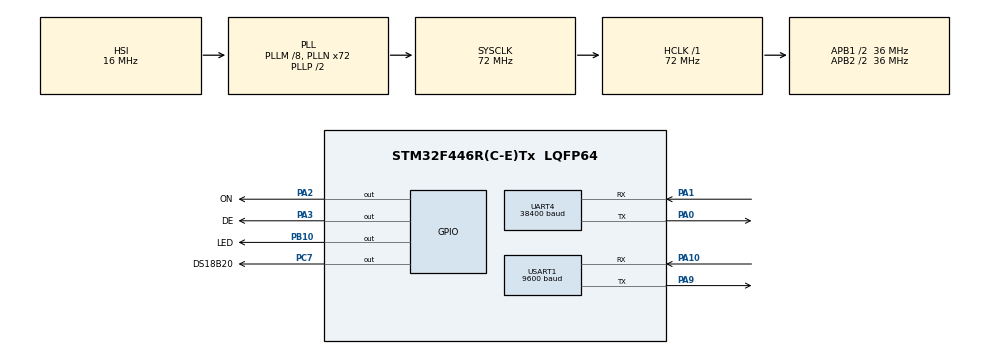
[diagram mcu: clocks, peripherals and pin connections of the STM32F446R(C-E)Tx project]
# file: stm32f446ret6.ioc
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Dma.Request0=UART4_TX
Dma.UART4_TX.0.Direction=DMA_MEMORY_TO_PERIPH
Dma.UART4_TX.0.FIFOMode=DMA_FIFOMODE_DISABLE
Dma.UART4_TX.0.Instance=DMA1_Stream4
Dma.UART4_TX.0.MemDataAlignment=DMA_MDATAALIGN_BYTE
Dma.UART4_TX.0.MemInc=DMA_MINC_ENABLE
Dma.UART4_TX.0.Mode=DMA_NORMAL
Dma.UART4_TX.0.PeriphDataAlignment=DMA_PDATAALIGN_BYTE
Dma.UART4_TX.0.PeriphInc=DMA_PINC_DISABLE
Dma.UART4_TX.0.Priority=DMA_PRIORITY_LOW
Mcu.Family=STM32F4
Mcu.Name=STM32F446R(C-E)Tx
Mcu.Package=LQFP64
NVIC.DMA1_Stream4_IRQn=true\:0\:0\:false\:false\:true\:false\:true\:true
NVIC.PriorityGroup=NVIC_PRIORITYGROUP_4
PA0-WKUP.Mode=Asynchronous
PA0-WKUP.Signal=UART4_TX
PA1.Mode=Asynchronous
PA1.Signal=UART4_RX
PA10.Mode=Asynchronous
PA10.Signal=USART1_RX
PA13.Mode=Serial_Wire
PA13.Signal=SYS_JTMS-SWDIO
PA14.Mode=Serial_Wire
PA14.Signal=SYS_JTCK-SWCLK
PA2.GPIO_Label=ON
PA2.Signal=GPIO_Output
PA3.GPIO_Label=DE
PA3.Signal=GPIO_Output
PA9.Mode=Asynchronous
PA9.Signal=USART1_TX
PB10.GPIO_Label=LED
PB10.Signal=GPIO_Output
PC7.GPIO_Label=DS18B20
PC7.Signal=GPIO_Output
ProjectManager.HeapSize=0x200
ProjectManager.StackSize=0x400
ProjectManager.TargetToolchain=STM32CubeIDE
RCC.AHBFreq_Value=72000000
RCC.APB1CLKDivider=RCC_HCLK_DIV2
RCC.APB1Freq_Value=36000000
RCC.APB1TimFreq_Value=72000000
RCC.APB2CLKDivider=RCC_HCLK_DIV2
RCC.APB2Freq_Value=36000000
RCC.APB2TimFreq_Value=72000000
RCC.CortexFreq_Value=72000000
RCC.HCLKFreq_Value=72000000
RCC.PLLM=8
RCC.PLLN=72
RCC.SYSCLKFreq_VALUE=72000000
RCC.SYSCLKSource=RCC_SYSCLKSOURCE_PLLCLK
RCC.USBFreq_Value=72000000
RCC.VCOOutputFreq_Value=144000000
TIM6.Prescaler=71
UART4.BaudRate=38400
UART4.VirtualMode=Asynchronous
USART1.BaudRate=9600
USART1.VirtualMode=VM_ASYNC
VP_TIM6_VS_ClockSourceINT.Mode=Enable_Timer
board=custom

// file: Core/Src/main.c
/* USER CODE BEGIN Header */
/**
  ******************************************************************************
  * @file           : main.c
  * @brief          : Main program body
  ******************************************************************************
  * @attention
  *
  * Copyright (c) 2022 STMicroelectronics.
  * All rights reserved.
  *
  * This software is licensed under terms that can be found in the LICENSE file
  * in the root directory of this software component.
  * If no LICENSE file comes with this software, it is provided AS-IS.
  *
  ******************************************************************************
  */
/* USER CODE END Header */
#include "main.h"

/* USER CODE BEGIN PD */
#define USART_BUS	UART4	// USART pro ProfiBUS
#define LL_DMA_CHANNEL_TX_BUS	LL_DMA_STREAM_4	// Vysilaci kanal DMA pro ProfiBUS

#define DE_BUS_Pin 				DE_Pin			// Pin pro DriverEnable
#define DE_BUS_GPIO_Port 		DE_GPIO_Port	// GPIO port pro DriverEnable
#define DE_BUS_Polarity			GPIO_PIN_SET		// GPIO_PIN_SET = pozitivni logika | GPIO_PIN_RESET = negace

#define RS485_RYCHLOST			38400
#define	DE_TX_START_DELAY		3000				// zpozdeni mezi povolenim budice a spustenim vysilani [us]
#define	DE_TX_END_DELAY			2200				// zpozdeni mezi povolenim budice a spustenim vysilani [us]
/* USER CODE END PD */

 TIM_HandleTypeDef htim6;

UART_HandleTypeDef huart1;

/* USER CODE BEGIN PV */
uint8_t Presence = 0;
uint8_t Temp_byte1;
uint8_t Temp_byte2;
uint16_t TEMP;
uint16_t val;
uint8_t buff[4];
/* USER CODE END PV */

void SystemClock_Config(void);
static void MX_GPIO_Init(void);
static void MX_DMA_Init(void);
static void MX_UART4_Init(void);
static void MX_TIM6_Init(void);
static void MX_USART1_UART_Init(void);
/* USER CODE BEGIN PFP */
void profibus_send_string(uint8_t adresa, uint8_t FC, uint8_t* str, uint8_t len);
void PB_DE_Set(void);
void PB_DE_Reset(void);
volatile uint8_t usart_tx_dma_transfer=0;
void delay(uint16_t time);
uint32_t timeDiff(uint32_t stampA, uint32_t stampB);
uint8_t usart_start_tx_dma_transfer(void);
void DS18B20_Write (uint8_t data);
void delay2 (uint32_t us);
uint8_t DS18B20_Start (void);
uint8_t read (void);
void gpio_set_input(void);
void gpio_set_output(void);
/* USER CODE END PFP */

int main(void)
{
  /* USER CODE BEGIN 1 */

	uint8_t strbuff1[16];
	uint8_t strbuff2[14];
  /* USER CODE END 1 */

  /* MCU Configuration--------------------------------------------------------*/

  /* Reset of all peripherals, Initializes the Flash interface and the Systick. */
  HAL_Init();

  /* Configure the system clock */
  SystemClock_Config();

  /* Initialize all configured peripherals */
  MX_GPIO_Init();
  MX_DMA_Init();
  MX_UART4_Init();
  MX_TIM6_Init();
  MX_USART1_UART_Init();
  /* USER CODE BEGIN 2 */
  LL_DMA_ClearFlag_HT4(DMA1);
  LL_DMA_ClearFlag_TC4(DMA1);
  LL_DMA_ClearFlag_TE4(DMA1);

  //LL_DMA_EnableStream(DMA1, LL_DMA_STREAM_4);

  HAL_GPIO_WritePin(GPIOA, GPIO_PIN_2, GPIO_PIN_RESET);
  HAL_TIM_Base_Start(&htim6);
  //HAL_GPIO_WritePin(GPIOA, GPIO_PIN_3, GPIO_PIN_SET);
  /* USER CODE END 2 */

  /* Infinite loop */
  /* USER CODE BEGIN WHILE */
  while (1)
  {
	  HAL_UART_Receive(&huart1, buff, 4, 100u);
	  	  for (int i = 0; i<4;i++)
	  	  {
	  		  if (buff[i] == 0xff)
	  		  {
	  			  switch(i){
	  			  case 0:
	  				  if(buff[i+1] == 0xff){
	  					  break;
	  				  }
	  				  val = ((uint16_t)buff[i+1] << 8) | buff[i+2];
	  				  break;
	  			  case 1:
	  				  if(buff[i+1] == 0xff){
	  					  break;
	  				  }
	  				  else if(buff[i-1] == 0xff){
	  					  break;
	  				  }
	  				  val = ((uint16_t)buff[i+1] << 8) | buff[i+2];
	  				  break;
	  			  case 2:
	  				  if(buff[i+1] == 0xff){
	  					  break;
	  				  }
	  				  else if(buff[i-1] == 0xff){
	  					  break;
	  				  }
	  				  val = ((uint16_t)buff[i+1] << 8) | buff[0];
	  				  break;
	  			  case 3:
	  				  if(buff[i+1] == 0xff){
	  					  break;
	  				  }
	  				  else if(buff[i-1] == 0xff){
	  					  break;
	  				  }
	  				  val = ((uint16_t)buff[0] << 8) | buff[i+1];
	  				  break;
	  			  default:
	  				  break;

	  			  }
	  		  }
	  	  }
	  	  sprintf(strbuff1 ,"distance: %ld\n\r",val);
	  	  profibus_send_string(1, 0, strbuff1, 16);
	  	  Presence = DS18B20_Start ();
	  	  HAL_Delay (1);
	  	  DS18B20_Write (0xCC);  // skip ROM
	  	  DS18B20_Write (0x44);  // convert t
	  	  HAL_Delay (800);

	  	  Presence = DS18B20_Start ();
	  	  HAL_Delay(1);
	  	  DS18B20_Write (0xCC);  // skip ROM
	  	  DS18B20_Write (0xBE);  // Read Scratch-pad

	  	  Temp_byte1 = read();
	  	  Temp_byte2 = read();
	  	  TEMP = (Temp_byte2<<8) | Temp_byte1;

	  	  sprintf(strbuff2,"Temp (%d.%d)\n\r",TEMP/16, TEMP%16);
	  	  profibus_send_string(1, 0, strbuff2, 14);
	  	  HAL_Delay(2000u);
    /* USER CODE END WHILE */

  }
}

void SystemClock_Config(void)
{
  RCC_OscInitTypeDef RCC_OscInitStruct = {0};
  RCC_ClkInitTypeDef RCC_ClkInitStruct = {0};

  /** Configure the main internal regulator output voltage
  */
  __HAL_RCC_PWR_CLK_ENABLE();
  __HAL_PWR_VOLTAGESCALING_CONFIG(PWR_REGULATOR_VOLTAGE_SCALE3);

  /** Initializes the RCC Oscillators according to the specified parameters
  * in the RCC_OscInitTypeDef structure.
  */
  RCC_OscInitStruct.OscillatorType = RCC_OSCILLATORTYPE_HSI;
  RCC_OscInitStruct.HSIState = RCC_HSI_ON;
  RCC_OscInitStruct.HSICalibrationValue = RCC_HSICALIBRATION_DEFAULT;
  RCC_OscInitStruct.PLL.PLLState = RCC_PLL_ON;
  RCC_OscInitStruct.PLL.PLLSource = RCC_PLLSOURCE_HSI;
  RCC_OscInitStruct.PLL.PLLM = 8;
  RCC_OscInitStruct.PLL.PLLN = 72;
  RCC_OscInitStruct.PLL.PLLP = RCC_PLLP_DIV2;
  RCC_OscInitStruct.PLL.PLLQ = 2;
  RCC_OscInitStruct.PLL.PLLR = 2;
  if (HAL_RCC_OscConfig(&RCC_OscInitStruct) != HAL_OK)
  {
    Error_Handler();
  }

  /** Initializes the CPU, AHB and APB buses clocks
  */
  RCC_ClkInitStruct.ClockType = RCC_CLOCKTYPE_HCLK|RCC_CLOCKTYPE_SYSCLK
                              |RCC_CLOCKTYPE_PCLK1|RCC_CLOCKTYPE_PCLK2;
  RCC_ClkInitStruct.SYSCLKSource = RCC_SYSCLKSOURCE_PLLCLK;
  RCC_ClkInitStruct.AHBCLKDivider = RCC_SYSCLK_DIV1;
  RCC_ClkInitStruct.APB1CLKDivider = RCC_HCLK_DIV2;
  RCC_ClkInitStruct.APB2CLKDivider = RCC_HCLK_DIV2;

  if (HAL_RCC_ClockConfig(&RCC_ClkInitStruct, FLASH_LATENCY_2) != HAL_OK)
  {
    Error_Handler();
  }
}

static void MX_TIM6_Init(void)
{

  TIM_MasterConfigTypeDef sMasterConfig = {0};

  htim6.Instance = TIM6;
  htim6.Init.Prescaler = 71;
  htim6.Init.CounterMode = TIM_COUNTERMODE_UP;
  htim6.Init.Period = 65535;
  htim6.Init.AutoReloadPreload = TIM_AUTORELOAD_PRELOAD_DISABLE;
  if (HAL_TIM_Base_Init(&htim6) != HAL_OK)
  {
    Error_Handler();
  }
  sMasterConfig.MasterOutputTrigger = TIM_TRGO_RESET;
  sMasterConfig.MasterSlaveMode = TIM_MASTERSLAVEMODE_DISABLE;
  if (HAL_TIMEx_MasterConfigSynchronization(&htim6, &sMasterConfig) != HAL_OK)
  {
    Error_Handler();
  }

}

static void MX_UART4_Init(void)
{

  LL_USART_InitTypeDef USART_InitStruct = {0};

  LL_GPIO_InitTypeDef GPIO_InitStruct = {0};

  /* Peripheral clock enable */
  LL_APB1_GRP1_EnableClock(LL_APB1_GRP1_PERIPH_UART4);

  LL_AHB1_GRP1_EnableClock(LL_AHB1_GRP1_PERIPH_GPIOA);
  /**UART4 GPIO Configuration
  PA0-WKUP   ------> UART4_TX
  PA1   ------> UART4_RX
  */
  GPIO_InitStruct.Pin = LL_GPIO_PIN_0|LL_GPIO_PIN_1;
  GPIO_InitStruct.Mode = LL_GPIO_MODE_ALTERNATE;
  GPIO_InitStruct.Speed = LL_GPIO_SPEED_FREQ_VERY_HIGH;
  GPIO_InitStruct.OutputType = LL_GPIO_OUTPUT_PUSHPULL;
  GPIO_InitStruct.Pull = LL_GPIO_PULL_NO;
  GPIO_InitStruct.Alternate = LL_GPIO_AF_8;
  LL_GPIO_Init(GPIOA, &GPIO_InitStruct);

  /* UART4 DMA Init */

  /* UART4_TX Init */
  LL_DMA_SetChannelSelection(DMA1, LL_DMA_STREAM_4, LL_DMA_CHANNEL_4);

  LL_DMA_SetDataTransferDirection(DMA1, LL_DMA_STREAM_4, LL_DMA_DIRECTION_MEMORY_TO_PERIPH);

  LL_DMA_SetStreamPriorityLevel(DMA1, LL_DMA_STREAM_4, LL_DMA_PRIORITY_LOW);

  LL_DMA_SetMode(DMA1, LL_DMA_STREAM_4, LL_DMA_MODE_NORMAL);

  LL_DMA_SetPeriphIncMode(DMA1, LL_DMA_STREAM_4, LL_DMA_PERIPH_NOINCREMENT);

  LL_DMA_SetMemoryIncMode(DMA1, LL_DMA_STREAM_4, LL_DMA_MEMORY_INCREMENT);

  LL_DMA_SetPeriphSize(DMA1, LL_DMA_STREAM_4, LL_DMA_PDATAALIGN_BYTE);

  LL_DMA_SetMemorySize(DMA1, LL_DMA_STREAM_4, LL_DMA_MDATAALIGN_BYTE);

  LL_DMA_DisableFifoMode(DMA1, LL_DMA_STREAM_4);

  /* USER CODE BEGIN UART4_Init 1 */
  LL_DMA_SetPeriphAddress(DMA1, LL_DMA_STREAM_4, (uint32_t)&UART4->DR);

  LL_DMA_EnableIT_TC(DMA1, LL_DMA_CHANNEL_TX_BUS);

  LL_USART_EnableDMAReq_TX(USART_BUS);
  /* USER CODE END UART4_Init 1 */
  USART_InitStruct.BaudRate = 38400;
  USART_InitStruct.DataWidth = LL_USART_DATAWIDTH_8B;
  USART_InitStruct.StopBits = LL_USART_STOPBITS_1;
  USART_InitStruct.Parity = LL_USART_PARITY_NONE;
  USART_InitStruct.TransferDirection = LL_USART_DIRECTION_TX_RX;
  USART_InitStruct.HardwareFlowControl = LL_USART_HWCONTROL_NONE;
  USART_InitStruct.OverSampling = LL_USART_OVERSAMPLING_16;
  LL_USART_Init(UART4, &USART_InitStruct);
  LL_USART_ConfigAsyncMode(UART4);
  LL_USART_Enable(UART4);

}

static void MX_USART1_UART_Init(void)
{

  huart1.Instance = USART1;
  huart1.Init.BaudRate = 9600;
  huart1.Init.WordLength = UART_WORDLENGTH_8B;
  huart1.Init.StopBits = UART_STOPBITS_1;
  huart1.Init.Parity = UART_PARITY_NONE;
  huart1.Init.Mode = UART_MODE_TX_RX;
  huart1.Init.HwFlowCtl = UART_HWCONTROL_NONE;
  huart1.Init.OverSampling = UART_OVERSAMPLING_16;
  if (HAL_UART_Init(&huart1) != HAL_OK)
  {
    Error_Handler();
  }

}

static void MX_DMA_Init(void)
{

  /* Init with LL driver */
  /* DMA controller clock enable */
  LL_AHB1_GRP1_EnableClock(LL_AHB1_GRP1_PERIPH_DMA1);

  /* DMA interrupt init */
  /* DMA1_Stream4_IRQn interrupt configuration */
  NVIC_SetPriority(DMA1_Stream4_IRQn, NVIC_EncodePriority(NVIC_GetPriorityGrouping(),0, 0));
  NVIC_EnableIRQ(DMA1_Stream4_IRQn);

}

static void MX_GPIO_Init(void)
{
  GPIO_InitTypeDef GPIO_InitStruct = {0};

  /* GPIO Ports Clock Enable */
  __HAL_RCC_GPIOA_CLK_ENABLE();
  __HAL_RCC_GPIOB_CLK_ENABLE();
  __HAL_RCC_GPIOC_CLK_ENABLE();

  /*Configure GPIO pin Output Level */
  HAL_GPIO_WritePin(GPIOA, ON_Pin|DE_Pin, GPIO_PIN_RESET);

  /*Configure GPIO pin Output Level */
  HAL_GPIO_WritePin(LED_GPIO_Port, LED_Pin, GPIO_PIN_RESET);

  /*Configure GPIO pin Output Level */
  HAL_GPIO_WritePin(DS18B20_GPIO_Port, DS18B20_Pin, GPIO_PIN_RESET);

  /*Configure GPIO pins : ON_Pin DE_Pin */
  GPIO_InitStruct.Pin = ON_Pin|DE_Pin;
  GPIO_InitStruct.Mode = GPIO_MODE_OUTPUT_PP;
  GPIO_InitStruct.Pull = GPIO_NOPULL;
  GPIO_InitStruct.Speed = GPIO_SPEED_FREQ_LOW;
  HAL_GPIO_Init(GPIOA, &GPIO_InitStruct);

  /*Configure GPIO pin : LED_Pin */
  GPIO_InitStruct.Pin = LED_Pin;
  GPIO_InitStruct.Mode = GPIO_MODE_OUTPUT_PP;
  GPIO_InitStruct.Pull = GPIO_NOPULL;
  GPIO_InitStruct.Speed = GPIO_SPEED_FREQ_LOW;
  HAL_GPIO_Init(LED_GPIO_Port, &GPIO_InitStruct);

  /*Configure GPIO pin : DS18B20_Pin */
  GPIO_InitStruct.Pin = DS18B20_Pin;
  GPIO_InitStruct.Mode = GPIO_MODE_OUTPUT_PP;
  GPIO_InitStruct.Pull = GPIO_NOPULL;
  GPIO_InitStruct.Speed = GPIO_SPEED_FREQ_LOW;
  HAL_GPIO_Init(DS18B20_GPIO_Port, &GPIO_InitStruct);

}

/* USER CODE BEGIN 4 */

/**
 * \brief           Sestavi paket a spusti prenos na sbernici
 * \param[in]       adresa: Cilova adresa paketu
 * \param[in]       FC: Funkcni kod
 * \param[in]       str: retezec k odeslani
 * \param[in]       len: delka retezce
 */
void profibus_send_string(uint8_t adresa, uint8_t FC, uint8_t* str, uint8_t len) {
	while(usart_tx_dma_transfer)
		;
	usart_tx_dma_transfer=1; // přenos probíhá
	LL_DMA_SetMemoryAddress(DMA1, LL_DMA_STREAM_4, (uint32_t)str);
	LL_DMA_SetDataLength(DMA1, LL_DMA_STREAM_4, len);	// nastavíme délku přenosu
	PB_DE_Set();	// Zapne vystup DriverEnable
	LL_DMA_EnableStream(DMA1, LL_DMA_STREAM_4);
	//}
    //usart_process_data(str, strlen(str));
}

/**
 * \brief	Nastavi DriverEnable a vypne prijimac
 * todo 	Zpozdeni urcovat podle timeru místo poctu pruchodu (v pripade preruseni se doba definovanych pruchodu prodlouzi)
 */
void PB_DE_Set(void){
	LL_USART_DisableDirectionRx(USART_BUS); //vypnu prijimac, aby neprijimal to, co odesila (nejednoznacne urovne na RX vystupu z budice behem zapnuteho DE)
	//LL_GPIO_SetPinMode(RX_BUS_GPIO_Port, RX_BUS_Pin, LL_GPIO_MODE_ANALOG);	//funguje pouze na F334, kde je vnitrne negovany Rx pin
	HAL_GPIO_WritePin(DE_BUS_GPIO_Port, DE_BUS_Pin, DE_BUS_Polarity);
	delay(DE_TX_START_DELAY);
	//for(uint16_t delay = DE_TX_START_DELAY;delay>0;--delay);	// zpozdeni mezi DE a spustenim vysilani (pri kratkem zpozdeti vysila prvni znaky chybne)
}

/**
 * \brief	Resetuje DriverEnable a zapne prijimac
 * todo 	Zpozdeni urcovat podle timeru místo poctu pruchodu (v pripade preruseni se doba definovanych pruchodu prodlouzi)
 */
void PB_DE_Reset(void){
	delay(DE_TX_END_DELAY);
	//HAL_Delay(4);
	//for(uint16_t delay = DE_TX_END_DELAY;delay>0;--delay);	// zpozdeni mezi ukoncenim vysilani a skoncenim DE
	HAL_GPIO_WritePin(DE_BUS_GPIO_Port, DE_BUS_Pin, !DE_BUS_Polarity);	//opet zapnu prijimac
	//LL_GPIO_SetPinMode(RX_BUS_GPIO_Port, RX_BUS_Pin, RX_BUS_Mode);	//funguje pouze na F334, kde je vnitrne negovany Rx pin
	//LL_USART_EnableDirectionRx(USART_BUS);
}

/**
 * Pocka alespon zadany pocet mikrosekund (min. 3us).
 * Mohlo by fungovat do asi 65ms.
 */
void delay(uint16_t time)
{
  uint32_t start = SysTick->VAL;   // doba zacatku cekani
  uint32_t now;                    // aktualni cas
  int32_t delay = 170 * ( (time>2)?(time-2):0 );    // kolik cyklu oscilatoru cekat

  while (delay > 0)
  {
    now = SysTick->VAL;    // aktualni cas systemoveho citace
    delay -= timeDiff(start, now); // odecteni doby od posledniho cyklu
    start = now;           // aktualizace doby zacatku cekani
  }
}
/**
 * Vrati casovy rozdil dvou casovych znacek
 * stampA - drivejsi udalost
 * stampB - pozdejsi udalost
 */
uint32_t timeDiff(uint32_t stampA, uint32_t stampB)
{
  if (stampA > stampB)
    return stampA - stampB;
  else
    return stampA - stampB + 170000;
}

void delay2 (uint32_t us)
{
    __HAL_TIM_SET_COUNTER(&htim6,0);
    while ((__HAL_TIM_GET_COUNTER(&htim6))<us);
}

void DS18B20_Write (uint8_t data)
{
	gpio_set_output();

	for (int i=0; i<8; i++)
	{

		if ((data & (1<<i))!=0)  // if the bit is high
		{
			// write 1

			gpio_set_output();
			HAL_GPIO_WritePin (GPIOC, DS18B20_Pin, 0);  // pull the pin LOW
			delay2 (1);  // wait for 1 us

			gpio_set_input();
			delay2 (60);  // wait for 60 us
		}

		else  // if the bit is low
		{
			// write 0

			gpio_set_output();
			HAL_GPIO_WritePin (GPIOC, DS18B20_Pin, 0);  // pull the pin LOWi
			delay2 (60);  // wait for 60 us

			gpio_set_input();
		}
	}
}
uint8_t DS18B20_Start (void)
{
	uint8_t Response = 0;
	gpio_set_output();
	HAL_GPIO_WritePin (GPIOC, DS18B20_Pin, 0);  // pull the pin low
	delay2 (480);   // delay according to datasheet

	gpio_set_input();
	delay2 (80);    // delay according to datasheet

	if (!(HAL_GPIO_ReadPin (GPIOC, DS18B20_Pin))) Response = 1;    // if the pin is low i.e the presence pulse is detected
	else Response = -1;

	delay2 (400); // 480 us delay totally.

	return Response;
}
uint8_t read (void)
{
	uint8_t value=0;
	gpio_set_input ();

	for (int i=0;i<8;i++)
	{
		gpio_set_output ();   // set as output

		HAL_GPIO_WritePin (GPIOC, DS18B20_Pin, 0);  // pull the data pin LOW
		delay2 (2);  // wait for 2 us

		gpio_set_input ();  // set as input
		if (HAL_GPIO_ReadPin (GPIOC, DS18B20_Pin))  // if the pin is HIGH
		{
			value |= 1<<i;  // read = 1
		}
		delay2 (60);  // wait for 60 us
	}
	return value;
}
void gpio_set_input(void){
	GPIO_InitTypeDef GPIO_InitStruct = {0};
	GPIO_InitStruct.Pin = DS18B20_Pin;
	GPIO_InitStruct.Mode = GPIO_MODE_INPUT;
	GPIO_InitStruct.Pull = GPIO_PULLUP;
	HAL_GPIO_Init(GPIOC, &GPIO_InitStruct);
}
void gpio_set_output(void){
	GPIO_InitTypeDef GPIO_InitStruct = {0};
	GPIO_InitStruct.Pin = DS18B20_Pin;
	GPIO_InitStruct.Mode = GPIO_MODE_OUTPUT_PP;
	GPIO_InitStruct.Speed = GPIO_SPEED_FREQ_LOW;
	HAL_GPIO_Init(GPIOC, &GPIO_InitStruct);
}
/* USER CODE END 4 */

void Error_Handler(void)
{
  __disable_irq();
  while (1)
  {
  }
}
